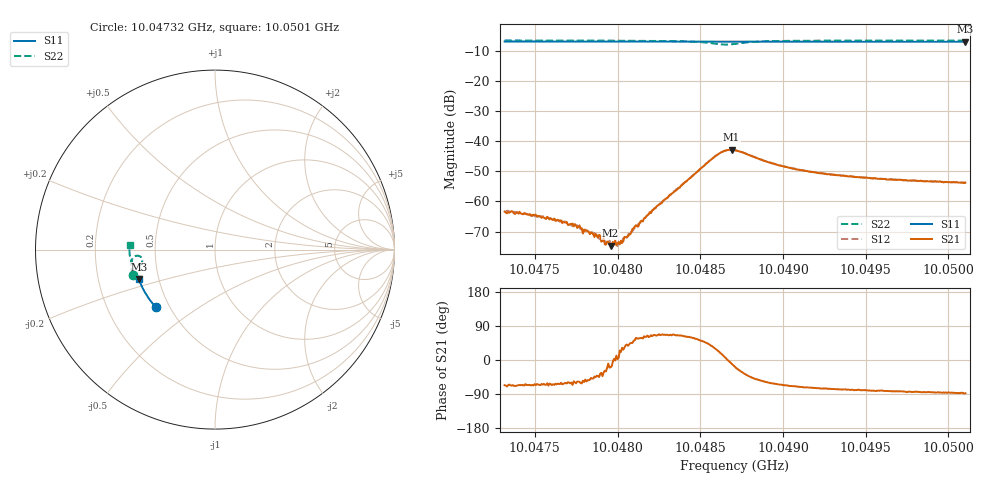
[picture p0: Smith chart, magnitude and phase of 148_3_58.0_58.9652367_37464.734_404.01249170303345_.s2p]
#  HZ  S  RI  R  50.00
! Rohde & Schwarz Vector Network Analyzer
! Rohde-Schwarz,ZNB20-2Port,1311601062101988,3.16
! Created: UTC 3/21/2024, 12:56:55 AM
! freq[Hz]  re:S11  im:S11  re:S21  im:S21  re:S12  im:S12  re:S22  im:S22
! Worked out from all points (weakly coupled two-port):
!   401 points, 10.04732 GHz to 10.0501 GHz, reference 50 ohm
!   highest |S21| = -42.79 dB at 10.04869 GHz (marker M1); lowest = -74.7 dB at 10.04796 GHz (marker M2)
!   lowest |S11| = -6.8 dB at 10.0501 GHz (marker M3), VSWR 2.67, Z = 19.3 - j8.09 ohm
!   |S11| at or under -10 dB: nowhere
!   |S22| runs from -7.8 to -6.4 dB; largest |S21 - S12| = 0.00051
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1.0047317e10  -0.3287 -0.3221  0.00027 -0.000621  0.000295 -0.000632  -0.4567 -0.144
1.0047401e10  -0.3324 -0.3181  0.000249 -0.000577  0.000293 -0.000576  -0.4581 -0.1383
1.0047561e10  -0.3396 -0.31  0.000219 -0.000476  0.000251 -0.000491  -0.4609 -0.1272
1.0047735e10  -0.3469 -0.301  0.000214 -0.00032  0.000257 -0.000332  -0.4636 -0.1147
1.0047784e10  -0.349 -0.2986  0.00017 -0.000315  0.000215 -0.000287  -0.4644 -0.1109
1.0047861e10  -0.3522 -0.2947  0.000185 -0.000177  0.000201 -0.000223  -0.4652 -0.1051
1.0047882e10  -0.3529 -0.2935  0.000183 -0.000169  0.000202 -0.000163  -0.4654 -0.1035
1.0047902e10  -0.3539 -0.2924  0.000178 -0.000119  0.000212 -0.000116  -0.4655 -0.1018
1.0047916e10  -0.3545 -0.2917  0.000203 -0.000129  0.000202 -0.000139  -0.4656 -0.1007
1.0047958e10  -0.3561 -0.2895  0.000174 -6.02e-05  0.000199 -5.41e-06  -0.4661 -0.0973
1.0048014e10  -0.3583 -0.2865  0.000176 8.17e-05  0.000183 6.36e-05  -0.4667 -0.0928
1.0048077e10  -0.3607 -0.2831  0.000204 0.000198  0.00022 0.000248  -0.467 -0.0874
1.0048104e10  -0.3619 -0.2818  0.000235 0.000299  0.000202 0.000302  -0.4671 -0.0848
1.0048251e10  -0.3675 -0.2739  0.000333 0.000817  0.000329 0.000831  -0.4664 -0.0705
1.0048592e10  -0.3796 -0.2547  0.00495 0.0028  0.0048 0.00313  -0.4218 -0.0358
1.0048641e10  -0.3811 -0.2521  0.00674 0.0013  0.00667 0.00172  -0.4071 -0.0501
1.004869e10  -0.3827 -0.2498  0.00714 -0.00127  0.00724 -0.000793  -0.4071 -0.0722
1.004871e10  -0.3834 -0.2487  0.00677 -0.00223  0.00692 -0.00182  -0.4121 -0.0799
1.0048968e10  -0.3926 -0.2342  0.00178 -0.00365  0.00201 -0.00356  -0.4641 -0.0695
1.0049177e10  -0.3992 -0.2219  0.000902 -0.00297  0.00105 -0.00292  -0.4722 -0.0478
1.0049644e10  -0.4126 -0.1943  0.000329 -0.00231  0.00045 -0.00231  -0.4767 -0.00995
1.0050104e10  -0.4238 -0.1662  8.3e-05 -0.00205  0.00022 -0.00205  -0.4761 0.0229
